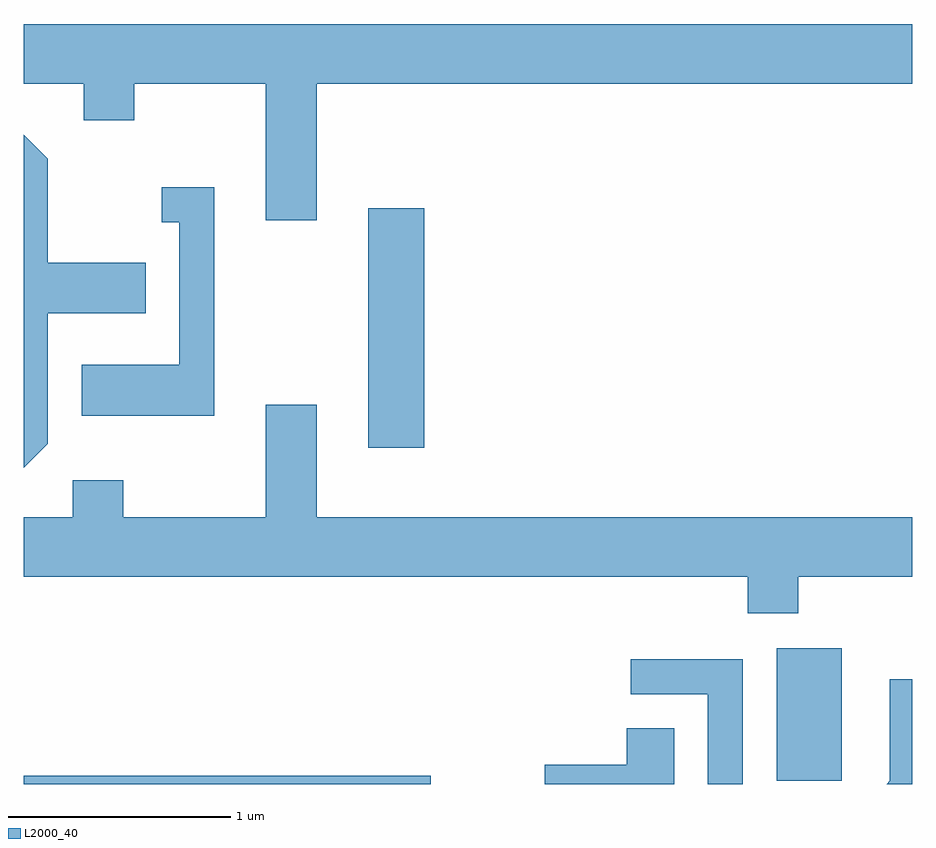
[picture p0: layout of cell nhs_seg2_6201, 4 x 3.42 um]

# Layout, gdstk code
import gdstk
lib = gdstk.Library(unit=1e-6, precision=1e-09)
def R(c, l, rs):  # rectangles x0, y0, x1, y1
    for r in rs: c.add(gdstk.rectangle(r[:2], r[2:], *l))
def P(c, l, *ps):  # polygons
    for p in ps: c.add(gdstk.Polygon(p, *l))
L2000_40 = (2000, 40)

nhs_seg2_6201 = lib.new_cell('nhs_seg2_6201')
R(nhs_seg2_6201, L2000_40, [(367.611,1071.802,369.444,1071.839), (371.001,1071.816,371.294,1072.414), (369.161,1073.316,369.414,1074.394)])
P(nhs_seg2_6201, L2000_40, [(368.929,1074.956),(371.611,1074.956),(371.611,1075.224),(367.611,1075.224),(367.611,1074.956),(367.881,1074.956),(367.881,1074.791),(368.109,1074.791),(368.109,1074.956),(368.701,1074.956),(368.701,1074.341),(368.929,1074.341)],
  [(367.719,1073.334),(367.719,1073.921),(368.159,1073.921),(368.159,1074.149),(367.719,1074.149),(367.719,1074.617),(367.611,1074.725),(367.611,1073.225)],
  [(368.469,1074.489),(368.233,1074.489),(368.233,1074.331),(368.311,1074.331),(368.311,1073.689),(367.871,1073.689),(367.871,1073.461),(368.469,1073.461)],
  [(371.099,1072.736),(371.611,1072.736),(371.611,1073.004),(368.929,1073.004),(368.929,1073.509),(368.701,1073.509),(368.701,1073.004),(368.059,1073.004),(368.059,1073.169),(367.831,1073.169),(367.831,1073.004),(367.611,1073.004),(367.611,1072.736),(370.871,1072.736),(370.871,1072.571),(371.099,1072.571)],
  [(370.849,1072.364),(370.343,1072.364),(370.343,1072.206),(370.691,1072.206),(370.691,1071.802),(370.849,1071.802)],
  [(371.611,1072.273),(371.511,1072.273),(371.511,1071.817),(371.496,1071.802),(371.611,1071.802)],
  [(370.539,1072.054),(370.326,1072.054),(370.326,1071.889),(369.956,1071.889),(369.956,1071.802),(370.539,1071.802)])

lib.write_gds('nhs_seg2_6201.gds')
